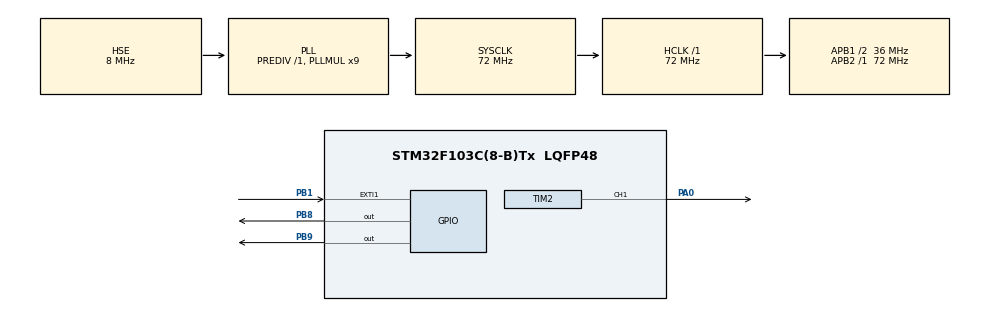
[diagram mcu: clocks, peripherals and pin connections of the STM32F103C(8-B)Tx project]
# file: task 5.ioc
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Mcu.Family=STM32F1
Mcu.Name=STM32F103C(8-B)Tx
Mcu.Package=LQFP48
NVIC.EXTI1_IRQn=true\:1\:0\:true\:false\:true\:true\:true\:true
NVIC.PriorityGroup=NVIC_PRIORITYGROUP_4
NVIC.TIM3_IRQn=true\:0\:0\:false\:false\:true\:true\:true\:true
NVIC.TIM4_IRQn=true\:0\:0\:false\:false\:true\:true\:true\:true
PA0-WKUP.Signal=S_TIM2_CH1_ETR
PA13.Mode=Serial_Wire
PA13.Signal=SYS_JTMS-SWDIO
PA14.Mode=Serial_Wire
PA14.Signal=SYS_JTCK-SWCLK
PB1.GPIO_ModeDefaultEXTI=GPIO_MODE_IT_RISING_FALLING
PB1.GPIO_PuPd=GPIO_PULLUP
PB1.Signal=GPXTI1
PB8.GPIO_ModeDefaultOutputPP=GPIO_MODE_OUTPUT_OD
PB8.GPIO_PuPd=GPIO_NOPULL
PB8.Signal=GPIO_Output
PB9.GPIO_ModeDefaultOutputPP=GPIO_MODE_OUTPUT_OD
PB9.GPIO_PuPd=GPIO_NOPULL
PB9.Signal=GPIO_Output
PD0-OSC_IN.Mode=HSE-External-Oscillator
PD0-OSC_IN.Signal=RCC_OSC_IN
PD1-OSC_OUT.Mode=HSE-External-Oscillator
PD1-OSC_OUT.Signal=RCC_OSC_OUT
ProjectManager.HeapSize=0x200
ProjectManager.StackSize=0x400
ProjectManager.TargetToolchain=MDK-ARM V5.32
RCC.AHBFreq_Value=72000000
RCC.APB1CLKDivider=RCC_HCLK_DIV2
RCC.APB1Freq_Value=36000000
RCC.APB1TimFreq_Value=72000000
RCC.APB2Freq_Value=72000000
RCC.APB2TimFreq_Value=72000000
RCC.HCLKFreq_Value=72000000
RCC.PLLMUL=RCC_PLL_MUL9
RCC.PLLSourceVirtual=RCC_PLLSOURCE_HSE
RCC.SYSCLKFreq_VALUE=72000000
RCC.SYSCLKSource=RCC_SYSCLKSOURCE_PLLCLK
RCC.USBFreq_Value=72000000
SH.S_TIM2_CH1_ETR.0=TIM2_CH1,PWM Generation1 CH1
TIM2.Channel-PWM\ Generation1\ CH1=TIM_CHANNEL_1
TIM2.Period=100-1
TIM2.Prescaler=720-1
TIM3.Period=10000-1
TIM3.Prescaler=72-1
TIM4.Period=1000-1
TIM4.Prescaler=72-1
VP_TIM2_VS_ClockSourceINT.Mode=Internal
VP_TIM3_VS_ClockSourceINT.Mode=Internal
VP_TIM4_VS_ClockSourceINT.Mode=Internal
board=custom

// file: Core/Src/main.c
/* USER CODE BEGIN Header */
/**
  ******************************************************************************
  * @file           : main.c
  * @brief          : Main program body
  ******************************************************************************
  * @attention
  *
  * Copyright (c) 2024 STMicroelectronics.
  * All rights reserved.
  *
  * This software is licensed under terms that can be found in the LICENSE file
  * in the root directory of this software component.
  * If no LICENSE file comes with this software, it is provided AS-IS.
  *
  ******************************************************************************
  */
/* USER CODE END Header */
#include "main.h"
#include "tim.h"
#include "gpio.h"

/* USER CODE BEGIN Includes */
#include "oled.h"
/* USER CODE END Includes */

/* USER CODE BEGIN PD */
#define LED_OFF 0
#define LED_LOW 25
#define LED_MEDIUM 75
#define LED_HIGH 100

#define LED_Breath 4
#define LED_Strink 5

#define BUTTON_IDLE 0
#define BUTTON_SINGLE_CLICK 1
#define BUTTON_DOUBLE_CLICK 2
#define BUTTON_LONG_PRESS 3
/* USER CODE END PD */

/* USER CODE BEGIN PV */
uint16_t led_brightness = LED_OFF;
uint16_t button_state = BUTTON_IDLE;

uint16_t g_Time_Count;		/*TIM溢出次数 -- 10ms  	Tout(溢出时间) = (ARR+1)(PSC+1)/Tclk(时钟分割)*/
uint8_t g_Key_Number=0;
uint32_t g_Time_Temp;
uint32_t g_Time_Last;

/* USER CODE END PV */

void SystemClock_Config(void);

/* USER CODE BEGIN 0 */
uint16_t get_buttonstate()
{
	return  button_state;
}
uint16_t get_led_brightness()
{
	return  led_brightness;
}
void start_breathing_mode(void);

void start_blinking_mode(uint32_t period);

void LED_SetBrightness(uint16_t brightness)
{
    /* 设置PWM占空比来控制LED亮度*/
    __HAL_TIM_SET_COMPARE(&htim2, TIM_CHANNEL_1, brightness);
}

void LED_Brightness_init()
{
	__HAL_TIM_SET_AUTORELOAD(&htim2,720-1);
	__HAL_TIM_SET_PRESCALER(&htim2,100-1);
    __HAL_TIM_SET_COMPARE(&htim2, TIM_CHANNEL_1,0);
}

void start_breathing_mode(void)
{

	for(uint16_t i=0; i<100;i++)
	{
		LED_SetBrightness(i);
		HAL_Delay(25);
	}
	for(uint16_t i=0; i<100;i++)
	{
		LED_SetBrightness(100-i);
		HAL_Delay(25);
	}
}
void start_blinking_mode(uint32_t period)
{
	uint16_t arr=10000*period;
	uint16_t psc=7200;
	__HAL_TIM_SET_AUTORELOAD(&htim2,arr-1);
	__HAL_TIM_SET_PRESCALER(&htim2,psc-1);
    __HAL_TIM_SET_COMPARE(&htim2, TIM_CHANNEL_1,arr/2);
}

void scan()
{
	//static uint8_t long_click_cnt = 0;
	static uint8_t short_click_cnt = 0;
	switch(button_state)
	{
		case BUTTON_SINGLE_CLICK:
		{
			if(led_brightness==LED_Breath)

			{
				led_brightness=LED_OFF;
				LED_SetBrightness(0);
				button_state=0;
			}
			else if(led_brightness==LED_Strink)
			{
				led_brightness=LED_OFF;
				LED_SetBrightness(0);
				button_state=0;
				LED_Brightness_init();
			}
			else
			{
					short_click_cnt++;
					short_click_cnt = short_click_cnt%4;
					/* 根据按键的次数依次执行不同的动作 */
					switch(short_click_cnt)
					{
						case 0:		   LED_SetBrightness(0); led_brightness=0; //button_state=0;
										button_state=0;

						break;

						case 1: 	   LED_SetBrightness(25); led_brightness=25; button_state=0;

						break;

						case 2:		   LED_SetBrightness(75); led_brightness=75; button_state=0;

						break;

						case 3:		   LED_SetBrightness(100);led_brightness=100; button_state=0;

						break;

						default:break;
					}
				}
			}
			break;

		case BUTTON_LONG_PRESS:			 /*长按按键*/
		{

		  short_click_cnt=0;
		  uint32_t time=g_Time_Last;
		  start_blinking_mode(time);
		  led_brightness=LED_Strink;

		}
		break;

		case BUTTON_DOUBLE_CLICK:			/*双击按键*/
		{
		  short_click_cnt=0;
		  led_brightness=LED_Breath;
		  start_breathing_mode();

		}
		break;

		default:
		break;
	}
}
/* USER CODE END 0 */

int main(void)
{

  /* MCU Configuration--------------------------------------------------------*/

  /* Reset of all peripherals, Initializes the Flash interface and the Systick. */
  HAL_Init();

  /* Configure the system clock */
  SystemClock_Config();

  /* Initialize all configured peripherals */
  MX_GPIO_Init();
  MX_TIM2_Init();
  MX_TIM3_Init();
  MX_TIM4_Init();
  /* USER CODE BEGIN 2 */
	OLED_Init();
	HAL_TIM_PWM_Start(&htim2,TIM_CHANNEL_1);/*放在外面不会反复开启*/
	LED_SetBrightness(0);
  /* USER CODE END 2 */

  /* Infinite loop */
  while (1)
  {
	   button_state =get_buttonstate();
	   led_brightness=get_led_brightness();
	   scan();
  }
}

void SystemClock_Config(void)
{
  RCC_OscInitTypeDef RCC_OscInitStruct = {0};
  RCC_ClkInitTypeDef RCC_ClkInitStruct = {0};

  /** Initializes the RCC Oscillators according to the specified parameters
  * in the RCC_OscInitTypeDef structure.
  */
  RCC_OscInitStruct.OscillatorType = RCC_OSCILLATORTYPE_HSE;
  RCC_OscInitStruct.HSEState = RCC_HSE_ON;
  RCC_OscInitStruct.HSEPredivValue = RCC_HSE_PREDIV_DIV1;
  RCC_OscInitStruct.HSIState = RCC_HSI_ON;
  RCC_OscInitStruct.PLL.PLLState = RCC_PLL_ON;
  RCC_OscInitStruct.PLL.PLLSource = RCC_PLLSOURCE_HSE;
  RCC_OscInitStruct.PLL.PLLMUL = RCC_PLL_MUL9;
  if (HAL_RCC_OscConfig(&RCC_OscInitStruct) != HAL_OK)
  {
    Error_Handler();
  }

  /** Initializes the CPU, AHB and APB buses clocks
  */
  RCC_ClkInitStruct.ClockType = RCC_CLOCKTYPE_HCLK|RCC_CLOCKTYPE_SYSCLK
                              |RCC_CLOCKTYPE_PCLK1|RCC_CLOCKTYPE_PCLK2;
  RCC_ClkInitStruct.SYSCLKSource = RCC_SYSCLKSOURCE_PLLCLK;
  RCC_ClkInitStruct.AHBCLKDivider = RCC_SYSCLK_DIV1;
  RCC_ClkInitStruct.APB1CLKDivider = RCC_HCLK_DIV2;
  RCC_ClkInitStruct.APB2CLKDivider = RCC_HCLK_DIV1;

  if (HAL_RCC_ClockConfig(&RCC_ClkInitStruct, FLASH_LATENCY_2) != HAL_OK)
  {
    Error_Handler();
  }
}

void Error_Handler(void)
{
  __disable_irq();
  while (1)
  {
  }
}
